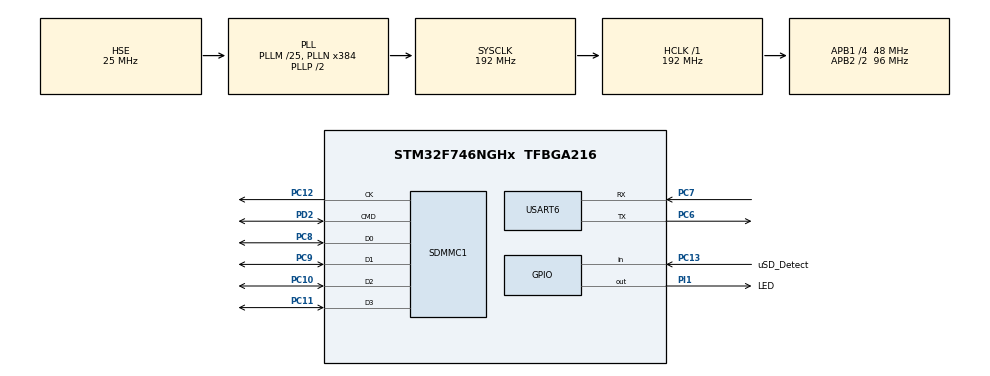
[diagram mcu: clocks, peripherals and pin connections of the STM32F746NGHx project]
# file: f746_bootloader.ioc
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FATFS.BSP.number=1
FATFS._MAX_SS=4096
FATFS0.BSP.STBoard=false
FATFS0.BSP.api=Unknown
FATFS0.BSP.i2caddr=0
FATFS0.BSP.instance=PC13
FATFS0.BSP.ip=GPIO
FATFS0.BSP.mode=Input
FATFS0.BSP.name=Detect_SDIO
FATFS0.BSP.solution=PC13
Mcu.Family=STM32F7
Mcu.Name=STM32F746NGHx
Mcu.Package=TFBGA216
NVIC.PriorityGroup=NVIC_PRIORITYGROUP_4
NVIC.SDMMC1_IRQn=true\:0\:0\:false\:false\:true\:true\:true
PA13.Mode=Serial_Wire
PA13.Signal=SYS_JTMS-SWDIO
PA14.Mode=Serial_Wire
PA14.Signal=SYS_JTCK-SWCLK
PC10.Mode=SD_4_bits_Wide_bus
PC10.Signal=SDMMC1_D2
PC11.Mode=SD_4_bits_Wide_bus
PC11.Signal=SDMMC1_D3
PC12.Mode=SD_4_bits_Wide_bus
PC12.Signal=SDMMC1_CK
PC13.GPIO_Label=uSD_Detect
PC13.Signal=GPIO_Input
PC6.Mode=Asynchronous
PC6.Signal=USART6_TX
PC7.Mode=Asynchronous
PC7.Signal=USART6_RX
PC8.Mode=SD_4_bits_Wide_bus
PC8.Signal=SDMMC1_D0
PC9.Mode=SD_4_bits_Wide_bus
PC9.Signal=SDMMC1_D1
PD2.Mode=SD_4_bits_Wide_bus
PD2.Signal=SDMMC1_CMD
PH0/OSC_IN.Mode=HSE-External-Oscillator
PH0/OSC_IN.Signal=RCC_OSC_IN
PH1/OSC_OUT.Mode=HSE-External-Oscillator
PH1/OSC_OUT.Signal=RCC_OSC_OUT
PI1.GPIO_Label=LED
PI1.Signal=GPIO_Output
ProjectManager.HeapSize=0x2000
ProjectManager.StackSize=0x4000
ProjectManager.TargetToolchain=MDK-ARM V5.27
RCC.AHBFreq_Value=192000000
RCC.APB1CLKDivider=RCC_HCLK_DIV4
RCC.APB1Freq_Value=48000000
RCC.APB1TimFreq_Value=96000000
RCC.APB2CLKDivider=RCC_HCLK_DIV2
RCC.APB2Freq_Value=96000000
RCC.APB2TimFreq_Value=192000000
RCC.CortexFreq_Value=192000000
RCC.HCLKFreq_Value=192000000
RCC.HSE_VALUE=25000000
RCC.HSI_VALUE=16000000
RCC.LSE_VALUE=32768
RCC.PLL48CLockSelection=RCC_CLK48SOURCE_PLLSAIP
RCC.PLLI2SN=100
RCC.PLLM=25
RCC.PLLN=384
RCC.PLLQ=8
RCC.PLLSAIN=384
RCC.PLLSAIP=RCC_PLLSAIP_DIV8
RCC.PLLSAIR=5
RCC.PLLSAIRDiv=RCC_PLLSAIDIVR_8
RCC.PLLSourceVirtual=RCC_PLLSOURCE_HSE
RCC.SDMMCClockSelection=RCC_SDMMC1CLKSOURCE_CLK48
RCC.SYSCLKFreq_VALUE=192000000
RCC.SYSCLKSource=RCC_SYSCLKSOURCE_PLLCLK
RCC.USBFreq_Value=48000000
RCC.VCOOutputFreq_Value=384000000
SDMMC1.ClockBypass=SDMMC_CLOCK_BYPASS_DISABLE
SDMMC1.ClockDiv=6
USART6.VirtualMode-Asynchronous=VM_ASYNC
VP_FATFS_VS_SDIO.Mode=SDIO
board=STM32F746G-DISCO

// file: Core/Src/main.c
/* USER CODE BEGIN Header */
/**
  ******************************************************************************
  * @file           : main.c
  * @brief          : Main program body
  ******************************************************************************
  * @attention
  *
  * <h2><center>&copy; Copyright (c) 2022 STMicroelectronics.
  * All rights reserved.</center></h2>
  *
  * This software component is licensed by ST under BSD 3-Clause license,
  * the "License"; You may not use this file except in compliance with the
  * License. You may obtain a copy of the License at:
  *                        opensource.org/licenses/BSD-3-Clause
  *
  ******************************************************************************
  */
/* USER CODE END Header */
#include "main.h"
#include "fatfs.h"

/* USER CODE BEGIN Includes */
#include "stdio.h"
#include "string.h"
#include "stm32f7xx_hal.h"
/* USER CODE END Includes */

/* USER CODE BEGIN PD */

#define LED(x) ((x)? (GPIOI->BSRR=GPIO_BSRR_BS_1) : (GPIOI->BSRR=GPIO_BSRR_BR_1));
/* USER CODE END PD */

SD_HandleTypeDef hsd1;

UART_HandleTypeDef huart6;

char UART_msg_TX [60]; //буффер сообщений UARTS

FATFS log_fs ;    // рабочая область (file system object) для логических диска
FIL bootfile;     //файловый объект

unsigned int byteswritten, bytesread; //количество байт которые необходимо прочитать
uint8_t result; //код возврата функций FatFs

char filename [50];
char ver_in_sd[9];
char ver_in_flash[8];

//char rtext[100]; // File read buffer

void SystemClock_Config(void);
static void MX_GPIO_Init(void);
static void MX_SDMMC1_SD_Init(void);
static void MX_USART6_UART_Init(void);
/* USER CODE BEGIN PFP */
void UART6_SendByte(char );
void UART6_SendString (const char * );
/* USER CODE END PFP */

/* USER CODE BEGIN 0 */
/**********************************************************************************************************************/
uint8_t mount_card (FATFS* fs)
{
	uint8_t result = 0;
	if(BSP_SD_Init() != MSD_OK)
	{
		sprintf (UART_msg_TX,"bsp_sd_init error\r\n");
		UART6_SendString (UART_msg_TX);
		result = 1;
	}
	else
	{
		if((result = f_mount(&log_fs, (TCHAR const*)SDPath, 1)) != FR_OK) //монтирование рабочей области (0 - отложенное, 1 - немедленное монтирование)
		{
			sprintf (UART_msg_TX, "SD_card_error=%u\r\n", result);
			UART6_SendString (UART_msg_TX);
		}
	}
	return	result;
}

//****************************************************************************************************************************************************//
void EraseFlash(void)
{

	UART6_SendString("Start flash erasing\r\n");

	__disable_irq();
	HAL_FLASH_Unlock();

	FLASH_Erase_Sector(FLASH_SECTOR_2, FLASH_VOLTAGE_RANGE_3);
	FLASH_WaitForLastOperation(500);
	FLASH_Erase_Sector(FLASH_SECTOR_3, FLASH_VOLTAGE_RANGE_3);
	FLASH_WaitForLastOperation(500);
	FLASH_Erase_Sector(FLASH_SECTOR_4, FLASH_VOLTAGE_RANGE_3);
	FLASH_WaitForLastOperation(500);
	//UART6_SendString("FLASH_SECTOR_4 erased\r\n");
	FLASH_Erase_Sector(FLASH_SECTOR_5, FLASH_VOLTAGE_RANGE_3);
	FLASH_WaitForLastOperation(500);
	//UART6_SendString("FLASH_SECTOR_5 erased\r\n");
	FLASH_Erase_Sector(FLASH_SECTOR_6, FLASH_VOLTAGE_RANGE_3);
	FLASH_WaitForLastOperation(500);
	//UART6_SendString("FLASH_SECTOR_6 erased\r\n");
	FLASH_Erase_Sector(FLASH_SECTOR_7, FLASH_VOLTAGE_RANGE_3);
	FLASH_WaitForLastOperation(500);
	//UART6_SendString("FLASH_SECTOR_7 erased\r\n");*/
	UART6_SendString("Finish flash erasing\r\n");

	HAL_FLASH_Lock();
	__enable_irq();
}

//****************************************************************************************************************************************************//
unsigned int ReadFirmwareVersion(void)
{
	static uint32_t bytesread;
	if(f_open(&bootfile,filename, FA_READ) != FR_OK)
	{
		f_close(&bootfile);
		return 0;
	}
	if(f_lseek(&bootfile,0x10000)!= FR_OK) //расширение файла до размера 0x10000 байт
	{
		f_close(&bootfile);
		return 0;
	}
	if(f_read(&bootfile,ver_in_sd,8,(void *)&bytesread)!= FR_OK)
	{
		f_close(&bootfile);
		return 0;
	}
	f_close(&bootfile);
	return 1;
}

//****************************************************************************************************************************************************//
void ReadCurrentVersion (void)
{
	unsigned int * src;
	unsigned int word=0,word2=0;

	src  = (unsigned int *)VERSION_ADDRESS;
	word=*src++;
	word2=*src;

	ver_in_flash[0]=word;
	ver_in_flash[1]=word>>8;
	ver_in_flash[2]=word>>16;
	ver_in_flash[3]=word>>24;

	ver_in_flash[4]=word2;
	ver_in_flash[5]=word2>>8;
	ver_in_flash[6]=word2>>16;
	ver_in_flash[7]=word2>>24;
}

//****************************************************************************************************************************************************//
unsigned int scan_files (char* path )
{
	FRESULT result;
  DIR dir;
  static FILINFO fno;
//	char *fn;

	if ((result = f_opendir(&dir, path)) == FR_OK)   // Open the directory
	{
		for (;;)
		{
			result = f_readdir(&dir, &fno);                   // Read a directory item
      if (result != FR_OK || fno.fname[0] == 0)  // Останов цикла при ошибке или при достижении конца списка директории
				break;
//			fn = fno.fname;
			if (!(fno.fattrib & AM_DIR)) //если найдена не директория
			{
				if((strstr(fno.fname,"BOOT"))&&(strstr(fno.fname,"BIN")))
				{
					sprintf(UART_msg_TX,"Found file %s \r\n", fno.fname);
					memcpy(filename, fno.fname, sizeof(fno.fname));
					UART6_SendString(UART_msg_TX);
					if(ReadFirmwareVersion())
					{
						sprintf(UART_msg_TX,"Version of file %s \r\n", ver_in_sd);
						UART6_SendString(UART_msg_TX);
					}
					/*ReadCurrentVersion();
					sprintf(UART_msg_TX,"Current Version %s \r\n", ver_in_flash);
					UART6_SendString(UART_msg_TX);
					if(memcmp(ver_in_flash,ver_in_sd,8)==0)
					{
						return FOUND_SAME_FIRMWARE;
					}
					else
					{
						return FOUND_NEW_FIRMWARE;
					}*/
					return FOUND_NEW_FIRMWARE;
				}
      }
		}
		if ((result = f_closedir(&dir)) != FR_OK)
		{
				sprintf (UART_msg_TX,"incorrect_close_directory. code=%u\r\n", result);
				UART6_SendString (UART_msg_TX);
		}
	}
	return FILE_NOT_FOUND;
}

//****************************************************************************************************************************************************//
void UpgradeFirmware(void)
{
	char buffer[512];
	unsigned int offset=0;
	static uint32_t bytesread;
	FRESULT result;

	if(f_open(&bootfile, filename, FA_READ) == FR_OK)
  {
		sprintf (UART_msg_TX, "Found firmware file-%s\r\n", filename);
		UART6_SendString(UART_msg_TX);
		EraseFlash();
		UART6_SendString("Start flash programming\r\n");
		HAL_FLASH_Unlock();

		for(unsigned int i=0; i<1000; i++)
		{
			result = f_read(&bootfile, buffer, sizeof(buffer), (void *)&bytesread);
			if(result != FR_OK)
			{
				UART6_SendString("Error reading file\r\n");
			}
			if(bytesread==0) //если файл окончился
				{break;}

			for (unsigned int x=0; x<bytesread; x++)
			{
				HAL_FLASH_Program(TYPEPROGRAM_BYTE, APPLICATION_ADDRESS+offset, buffer[x]); //запись во flash побайтно
				offset=offset+1;
			}
		}
		HAL_FLASH_Lock();
		UART6_SendString("Finish flash programming\r\n");

		if ((result = f_close(&bootfile)) != FR_OK)
		{
			sprintf (UART_msg_TX,"incorrect_close_file. code=%u\r\n", result);
			UART6_SendString (UART_msg_TX);
		}
	}
	else
	{
		sprintf (UART_msg_TX, "file not open\r\n");
		UART6_SendString(UART_msg_TX);
	}
}

//****************************************************************************************************************************************************//
void Go_To_User_App(void)
{
    uint32_t app_jump_address;

		UART6_SendString("jump_to_address\r\n");

    typedef void(*pFunction)(void);
    pFunction Jump_To_Application;

     __disable_irq();

		MX_FATFS_DeInit();
		HAL_SD_DeInit (&hsd1);
		HAL_UART_MspDeInit(&huart6);
		HAL_RCC_DeInit ();
		HAL_DeInit();

    app_jump_address = *( uint32_t*) (APPLICATION_ADDRESS + 4); //адрес перехода + адрес Reset Handler
    Jump_To_Application = (pFunction)app_jump_address;

		SCB->VTOR =  APPLICATION_ADDRESS; //адрес таблицы прерываний для запускаемой программы

		__set_MSP(*(__IO uint32_t*) APPLICATION_ADDRESS);   //  инициализация указателя на стек для запускаемой программы
    Jump_To_Application();
}

//****************************************************************************************************************************************************//
void ExitBootloader(void)
{
	Go_To_User_App();
}

//****************************************************************************************************************************************************//
/* USER CODE END 0 */

int main(void)
{
  /* USER CODE BEGIN 1 */
//	unsigned int timer=0;
  /* USER CODE END 1 */

  /* MCU Configuration--------------------------------------------------------*/

  /* Reset of all peripherals, Initializes the Flash interface and the Systick. */
  HAL_Init();

  /* Configure the system clock */
  SystemClock_Config();

  /* Initialize all configured peripherals */
  MX_GPIO_Init();
  MX_SDMMC1_SD_Init();
  MX_USART6_UART_Init();
  MX_FATFS_Init();

  /* Infinite loop */
  /* USER CODE BEGIN WHILE */
  while (1)
  {
		if(mount_card (&log_fs) == MSD_OK)
		{
			result =	scan_files ("/");
			switch (result)
			{
				case FILE_NOT_FOUND:
					//NVIC_SystemReset();
					break;
				case NO_SD_CARD:
					break;
				case FOUND_SAME_FIRMWARE:
					LED(1);
					UpgradeFirmware();
					LED(0);
					break;
				case FOUND_NEW_FIRMWARE:
					LED(1);
					UpgradeFirmware();
					LED(0);
					break;
			}
	/*		timer++;
			if(timer>100000)
			{
				ExitBootloader();
			}*/
		}
		HAL_Delay (500);
		ExitBootloader();
    /* USER CODE END WHILE */

  }
}

void SystemClock_Config(void)
{
  RCC_OscInitTypeDef RCC_OscInitStruct = {0};
  RCC_ClkInitTypeDef RCC_ClkInitStruct = {0};
  RCC_PeriphCLKInitTypeDef PeriphClkInitStruct = {0};

  /** Configure the main internal regulator output voltage
  */
  __HAL_RCC_PWR_CLK_ENABLE();
  __HAL_PWR_VOLTAGESCALING_CONFIG(PWR_REGULATOR_VOLTAGE_SCALE1);
  /** Initializes the RCC Oscillators according to the specified parameters
  * in the RCC_OscInitTypeDef structure.
  */
  RCC_OscInitStruct.OscillatorType = RCC_OSCILLATORTYPE_HSE;
  RCC_OscInitStruct.HSEState = RCC_HSE_ON;
  RCC_OscInitStruct.PLL.PLLState = RCC_PLL_ON;
  RCC_OscInitStruct.PLL.PLLSource = RCC_PLLSOURCE_HSE;
  RCC_OscInitStruct.PLL.PLLM = 25;
  RCC_OscInitStruct.PLL.PLLN = 384;
  RCC_OscInitStruct.PLL.PLLP = RCC_PLLP_DIV2;
  RCC_OscInitStruct.PLL.PLLQ = 8;
  if (HAL_RCC_OscConfig(&RCC_OscInitStruct) != HAL_OK)
  {
    Error_Handler();
  }
  /** Activate the Over-Drive mode
  */
  if (HAL_PWREx_EnableOverDrive() != HAL_OK)
  {
    Error_Handler();
  }
  /** Initializes the CPU, AHB and APB buses clocks
  */
  RCC_ClkInitStruct.ClockType = RCC_CLOCKTYPE_HCLK|RCC_CLOCKTYPE_SYSCLK
                              |RCC_CLOCKTYPE_PCLK1|RCC_CLOCKTYPE_PCLK2;
  RCC_ClkInitStruct.SYSCLKSource = RCC_SYSCLKSOURCE_PLLCLK;
  RCC_ClkInitStruct.AHBCLKDivider = RCC_SYSCLK_DIV1;
  RCC_ClkInitStruct.APB1CLKDivider = RCC_HCLK_DIV4;
  RCC_ClkInitStruct.APB2CLKDivider = RCC_HCLK_DIV2;

  if (HAL_RCC_ClockConfig(&RCC_ClkInitStruct, FLASH_LATENCY_6) != HAL_OK)
  {
    Error_Handler();
  }
  PeriphClkInitStruct.PeriphClockSelection = RCC_PERIPHCLK_USART6|RCC_PERIPHCLK_SDMMC1
                              |RCC_PERIPHCLK_CLK48;
  PeriphClkInitStruct.PLLSAI.PLLSAIN = 384;
  PeriphClkInitStruct.PLLSAI.PLLSAIR = 5;
  PeriphClkInitStruct.PLLSAI.PLLSAIQ = 2;
  PeriphClkInitStruct.PLLSAI.PLLSAIP = RCC_PLLSAIP_DIV8;
  PeriphClkInitStruct.PLLSAIDivQ = 1;
  PeriphClkInitStruct.PLLSAIDivR = RCC_PLLSAIDIVR_8;
  PeriphClkInitStruct.Usart6ClockSelection = RCC_USART6CLKSOURCE_PCLK2;
  PeriphClkInitStruct.Clk48ClockSelection = RCC_CLK48SOURCE_PLLSAIP;
  PeriphClkInitStruct.Sdmmc1ClockSelection = RCC_SDMMC1CLKSOURCE_CLK48;
  if (HAL_RCCEx_PeriphCLKConfig(&PeriphClkInitStruct) != HAL_OK)
  {
    Error_Handler();
  }
}

static void MX_SDMMC1_SD_Init(void)
{

  hsd1.Instance = SDMMC1;
  hsd1.Init.ClockEdge = SDMMC_CLOCK_EDGE_RISING;
  hsd1.Init.ClockBypass = SDMMC_CLOCK_BYPASS_DISABLE;
  hsd1.Init.ClockPowerSave = SDMMC_CLOCK_POWER_SAVE_DISABLE;
  hsd1.Init.BusWide = SDMMC_BUS_WIDE_1B;
  hsd1.Init.HardwareFlowControl = SDMMC_HARDWARE_FLOW_CONTROL_DISABLE;
  hsd1.Init.ClockDiv = 8;

}

static void MX_USART6_UART_Init(void)
{

  huart6.Instance = USART6;
  huart6.Init.BaudRate = 115200;
  huart6.Init.WordLength = UART_WORDLENGTH_8B;
  huart6.Init.StopBits = UART_STOPBITS_1;
  huart6.Init.Parity = UART_PARITY_NONE;
  huart6.Init.Mode = UART_MODE_TX_RX;
  huart6.Init.HwFlowCtl = UART_HWCONTROL_NONE;
  huart6.Init.OverSampling = UART_OVERSAMPLING_16;
  huart6.Init.OneBitSampling = UART_ONE_BIT_SAMPLE_DISABLE;
  huart6.AdvancedInit.AdvFeatureInit = UART_ADVFEATURE_NO_INIT;
  if (HAL_UART_Init(&huart6) != HAL_OK)
  {
    Error_Handler();
  }

}

static void MX_GPIO_Init(void)
{
  GPIO_InitTypeDef GPIO_InitStruct = {0};

  /* GPIO Ports Clock Enable */
  __HAL_RCC_GPIOC_CLK_ENABLE();
  __HAL_RCC_GPIOD_CLK_ENABLE();
  __HAL_RCC_GPIOI_CLK_ENABLE();
  __HAL_RCC_GPIOH_CLK_ENABLE();

  /*Configure GPIO pin Output Level */
  HAL_GPIO_WritePin(LED_GPIO_Port, LED_Pin, GPIO_PIN_RESET);

  /*Configure GPIO pin : uSD_Detect_Pin */
  GPIO_InitStruct.Pin = uSD_Detect_Pin;
  GPIO_InitStruct.Mode = GPIO_MODE_INPUT;
  GPIO_InitStruct.Pull = GPIO_NOPULL;
  HAL_GPIO_Init(uSD_Detect_GPIO_Port, &GPIO_InitStruct);

  /*Configure GPIO pin : LED_Pin */
  GPIO_InitStruct.Pin = LED_Pin;
  GPIO_InitStruct.Mode = GPIO_MODE_OUTPUT_PP;
  GPIO_InitStruct.Pull = GPIO_NOPULL;
  GPIO_InitStruct.Speed = GPIO_SPEED_FREQ_LOW;
  HAL_GPIO_Init(LED_GPIO_Port, &GPIO_InitStruct);

}

/* USER CODE BEGIN 4 */
//****************************************************************************************************************************************************//
void UART6_SendByte(char b)
{
	int timeout = 300000;
	while ((USART6->ISR & UART_FLAG_TXE) == (uint16_t)RESET)
	{
		if(timeout --== 0){
			return;}
	}
	if ((USART6->ISR & USART_ISR_TC) == USART_ISR_TC) {
		USART6->TDR = (b & (uint16_t)0x01FF);} /// Transmit Data
	while ((USART6->ISR & UART_FLAG_TC) == (uint16_t)RESET){}	//wait for trasmit
}

//****************************************************************************************************************************************************//
void UART6_SendString (const char * text)
{
	while(*text)
	{
		UART6_SendByte(*text);
		text++;
	}
}
//****************************************************************************************************************************************************//
/* USER CODE END 4 */

void Error_Handler(void)
{
  __disable_irq();
  while (1)
  {
  }
}

/************************ (C) COPYRIGHT STMicroelectronics *****END OF FILE****/
